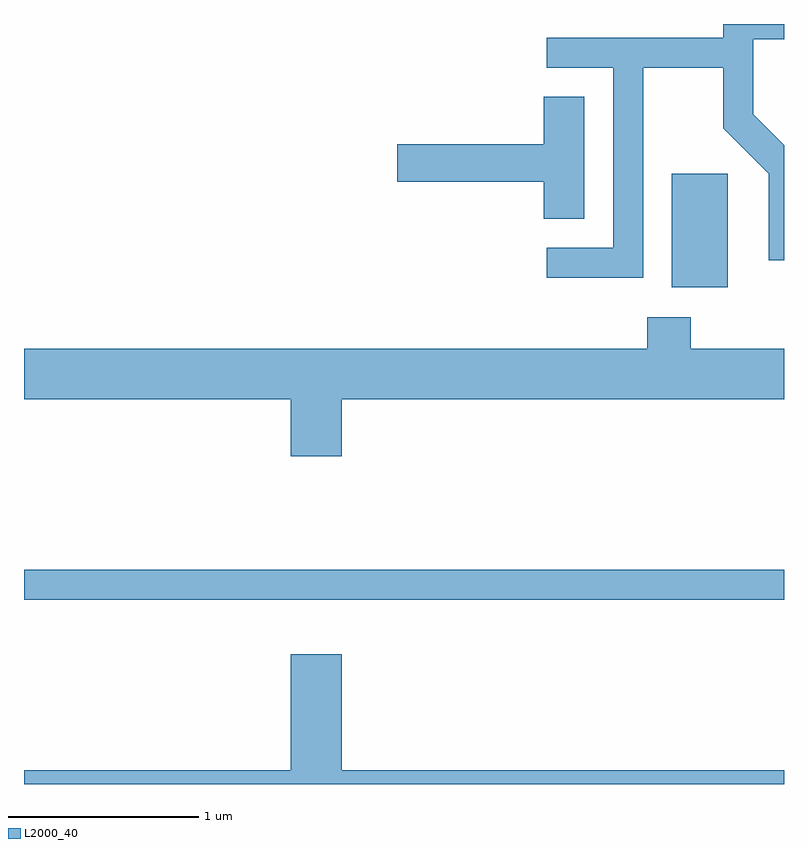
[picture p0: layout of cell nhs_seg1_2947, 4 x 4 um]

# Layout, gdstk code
import gdstk
lib = gdstk.Library(unit=1e-6, precision=1e-09)
def R(c, l, rs):  # rectangles x0, y0, x1, y1
    for r in rs: c.add(gdstk.rectangle(r[:2], r[2:], *l))
def P(c, l, *ps):  # polygons
    for p in ps: c.add(gdstk.Polygon(p, *l))
L2000_40 = (2000, 40)

nhs_seg1_2947 = lib.new_cell('nhs_seg1_2947')
R(nhs_seg1_2947, L2000_40, [(273.611,960.681,277.611,960.839), (277.021,962.326,277.314,962.924)])
P(nhs_seg1_2947, L2000_40, [(276.869,963.481),(277.291,963.481),(277.291,963.164),(277.531,962.924),(277.531,962.468),(277.611,962.468),(277.611,963.075),(277.449,963.237),(277.449,963.631),(277.611,963.631),(277.611,963.712),(277.291,963.712),(277.291,963.639),(276.363,963.639),(276.363,963.481),(276.711,963.481),(276.711,962.534),(276.363,962.534),(276.363,962.376),(276.869,962.376)],
  [(276.559,963.329),(276.346,963.329),(276.346,963.079),(275.576,963.079),(275.576,962.881),(276.346,962.881),(276.346,962.686),(276.559,962.686)],
  [(275.284,961.736),(277.611,961.736),(277.611,962.004),(277.119,962.004),(277.119,962.169),(276.891,962.169),(276.891,962.004),(273.611,962.004),(273.611,961.736),(275.016,961.736),(275.016,961.436),(275.284,961.436)],
  [(277.611,959.784),(275.284,959.784),(275.284,960.394),(275.016,960.394),(275.016,959.784),(273.611,959.784),(273.611,959.712),(277.611,959.712)])

lib.write_gds('nhs_seg1_2947.gds')
